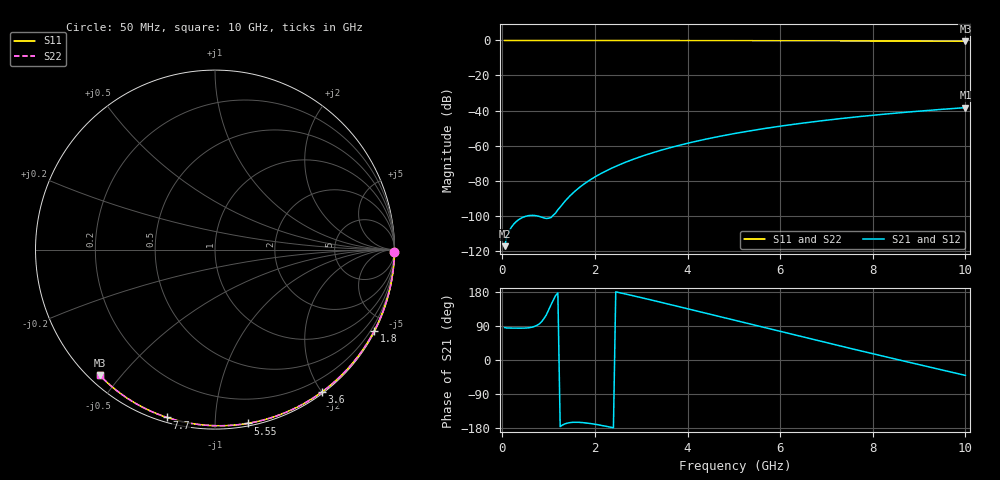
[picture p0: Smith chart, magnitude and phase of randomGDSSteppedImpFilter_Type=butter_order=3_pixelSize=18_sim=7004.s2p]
! freq	dB(S11)	phase(S11)	dB(S12)	phase(S12)
!  dB(S21)	phase(S21)	dB(S22)	phase(S22)
!S-par simulation data
#  GHz  S  DB  R 50
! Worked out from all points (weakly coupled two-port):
!   200 points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, 50 MHz to 10 GHz, reference 50 ohm
!   highest |S21| = -38.35 dB at 10 GHz (marker M1); lowest = -117.4 dB at 50 MHz (marker M2)
!   lowest |S11| = -0.4 dB at 10 GHz (marker M3), VSWR 38.90, Z = 1.53 - j22 ohm
!   |S11| at or under -10 dB: nowhere
!   |S22| runs from -0.4 to 0.0 dB; largest |S21 - S12| = 0
!   S11 on the Smith chart (normalised r, x): 50 MHz: open; 1.8 GHz: 0.04, -4.14; 3.6 GHz: 0.02, -2.00; 5.55 GHz: 0.02, -1.21; 7.7 GHz: 0.02, -0.75; 10 GHz: 0.03, -0.44
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0.05  -0.00 -0.8  -117.43 85.6  -117.43 85.6  -0.00 -0.8
0.9  -0.02 -13.7  -101.30 109.4  -101.30 109.4  -0.02 -13.7
1.75  -0.03 -26.4  -82.22 -165.4  -82.22 -165.4  -0.03 -26.4
1.8  -0.03 -27.2  -81.28 -166.0  -81.28 -166.0  -0.03 -27.2
1.85  -0.04 -27.9  -80.39 -166.8  -80.39 -166.8  -0.04 -27.9
1.9  -0.04 -28.7  -79.53 -167.6  -79.53 -167.6  -0.04 -28.7
2.05  -0.04 -30.9  -77.14 -170.6  -77.14 -170.6  -0.04 -30.9
2.25  -0.04 -33.8  -74.33 -175.1  -74.33 -175.1  -0.04 -33.8
2.45  -0.05 -36.7  -71.85 179.8  -71.85 179.8  -0.05 -36.7
2.65  -0.05 -39.6  -69.63 174.4  -69.63 174.4  -0.05 -39.6
3  -0.06 -44.7  -66.22 164.6  -66.22 164.6  -0.06 -44.7
3.4  -0.07 -50.3  -62.88 153.0  -62.88 153.0  -0.07 -50.3
3.6  -0.07 -53.1  -61.39 147.1  -61.39 147.1  -0.07 -53.1
4.3  -0.09 -62.8  -56.88 126.3  -56.88 126.3  -0.09 -62.8
5.05  -0.11 -72.8  -52.96 103.7  -52.96 103.7  -0.11 -72.8
5.55  -0.13 -79.3  -50.73 88.8  -50.73 88.8  -0.13 -79.4
6.1  -0.15 -86.4  -48.56 72.3  -48.56 72.3  -0.15 -86.4
6.7  -0.18 -93.8  -46.47 54.6  -46.47 54.6  -0.18 -93.8
7.7  -0.24 -105.9  -43.49 25.2  -43.49 25.2  -0.24 -105.9
8.35  -0.29 -113.6  -41.83 6.4  -41.83 6.4  -0.29 -113.6
9.15  -0.36 -122.8  -40.02 -16.5  -40.02 -16.5  -0.36 -122.8
10  -0.45 -132.5  -38.35 -40.6  -38.35 -40.6  -0.45 -132.5
